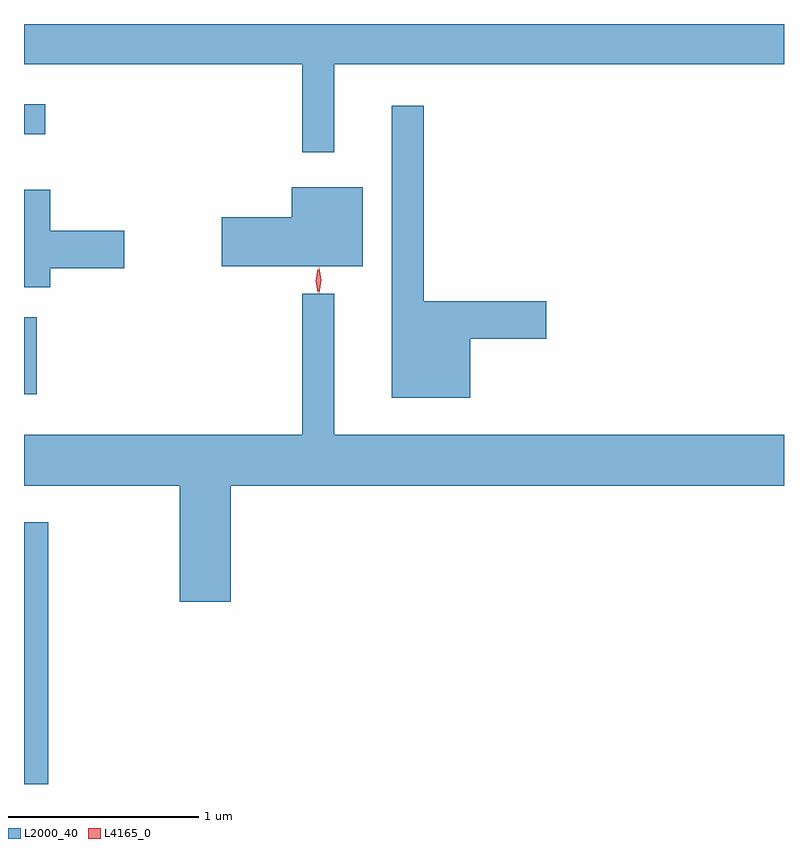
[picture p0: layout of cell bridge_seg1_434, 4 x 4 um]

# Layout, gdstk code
import gdstk
lib = gdstk.Library(unit=1e-6, precision=1e-09)
def R(c, l, rs):  # rectangles x0, y0, x1, y1
    for r in rs: c.add(gdstk.rectangle(r[:2], r[2:], *l))
def P(c, l, *ps):  # polygons
    for p in ps: c.add(gdstk.Polygon(p, *l))
L2000_40 = (2000, 40)
L4165_0 = (4165, 0)

bridge_seg1_434 = lib.new_cell('bridge_seg1_434')
R(bridge_seg1_434, L2000_40, [(214.256,895.787,214.384,897.164), (214.256,897.838,214.324,898.244), (214.256,899.206,214.368,899.364)])
P(bridge_seg1_434, L2000_40, [(215.889,899.576),(218.256,899.576),(218.256,899.787),(214.256,899.787),(214.256,899.576),(215.721,899.576),(215.721,899.113),(215.889,899.113)],
  [(216.604,898.131),(217.004,898.131),(217.004,898.329),(216.359,898.329),(216.359,899.358),(216.191,899.358),(216.191,897.821),(216.604,897.821)],
  [(216.039,898.929),(215.666,898.929),(215.666,898.769),(215.296,898.769),(215.296,898.511),(216.039,898.511)],
  [(214.394,898.501),(214.784,898.501),(214.784,898.699),(214.394,898.699),(214.394,898.914),(214.256,898.914),(214.256,898.401),(214.394,898.401)],
  [(215.344,897.356),(218.256,897.356),(218.256,897.624),(215.889,897.624),(215.889,898.368),(215.721,898.368),(215.721,897.624),(214.256,897.624),(214.256,897.356),(215.076,897.356),(215.076,896.746),(215.344,896.746)])
P(bridge_seg1_434, L4165_0, [(215.801,898.373),(215.792,898.436),(215.801,898.499),(215.802,898.5),(215.802,898.499),(215.812,898.436),(215.802,898.373),(215.802,898.373)],
  [(215.809,898.37),(215.809,898.37),(215.8,898.438),(215.81,898.505),(215.811,898.506),(215.811,898.505),(215.82,898.438),(215.81,898.37)])

lib.write_gds('bridge_seg1_434.gds')
